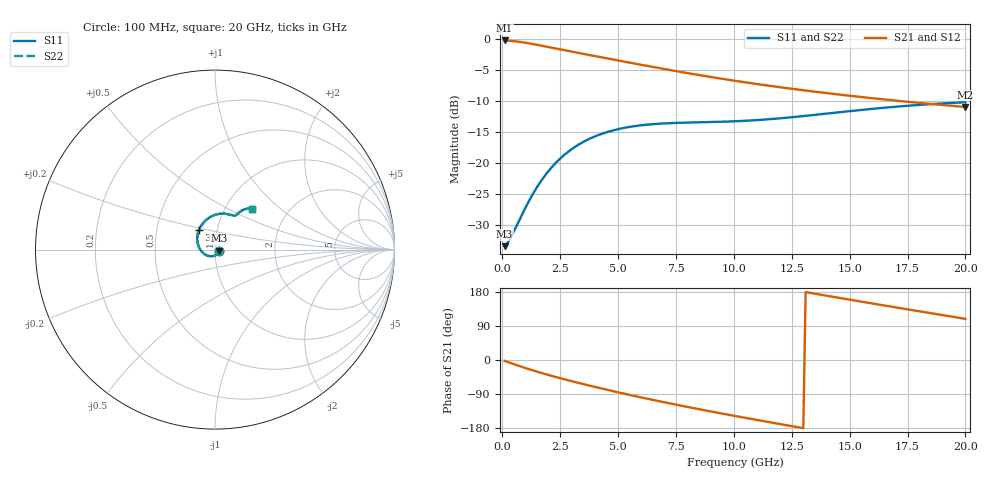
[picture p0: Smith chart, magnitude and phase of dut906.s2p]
! Touchstone file exported from HFSS 2024.1.0
!  File:  C:/UserFiles/LocalFiles/RDL_TSV_Batchsim/temp_RDL_TSV_906_1779954692.aedt
!  Generated:  04:08:38 PM May 28, 2026
!  Design:  RDL_TSV
!  Project:  temp_RDL_TSV_906_1779954692
!  Setup:  Setup1
!  Solution:  Sweep
! Variables:
!  dtsv = 14.11um
!  hbump = 3um
!  htsv = 96.03um
!  ldown = 499.93um
!  lrdl = 431.42um
!  p = 40
!  p1 = 40.69um
!  rhole = 10um
!  subl = 3225.47um
!  t = 450um
!  tdown = 3.34um
!  trdl = 2.57um
!  viad = 10um
!  wdown = 22.86um
!  wrdl = 17.17um
!  xbump = 18um
# GHz S MA R 50.000000
! Terminal data exported
! Port[1] = TM1_1_T1
! Port[2] = TM1_4_T1
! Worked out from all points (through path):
!   200 points, 100 MHz to 20 GHz, reference 50 ohm
!   highest |S21| = -0.19 dB at 100 MHz (marker M1); lowest = -10.9 dB at 20 GHz (marker M2)
!   group delay of S21, straight-line fit = 33.2 ps
!   lowest |S11| = -33.5 dB at 100 MHz (marker M3), VSWR 1.04, Z = 52.1 - j0.529 ohm
!   |S11| at or under -10 dB: start of sweep to end of sweep
!   |S22| runs from -33.5 to -10.2 dB; largest |S21 - S12| = 8.3e-15
!   S11 on the Smith chart (normalised r, x): 100 MHz: 1.04, -0.01; 3.3 GHz: 0.82, +0.18; 20 GHz: 1.33, +0.67
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0.1  0.02125 -13.8  0.9784 -2.3  0.9784 -2.3  0.02125 -13.8
! Gamma 0 0 0 0
! Port Impedance 50 0 50 0
0.4  0.02566 -55.1  0.9698 -8.9  0.9698 -8.9  0.02567 -55.1
0.9  0.03986 -111.5  0.9438 -19.3  0.9438 -19.3  0.03987 -111.4
1.3  0.05527 -144.1  0.9165 -27.1  0.9165 -27.1  0.05525 -144.0
1.6  0.06821 -163.4  0.8944 -32.6  0.8944 -32.6  0.06815 -163.3
2  0.08624 175.6  0.8646 -39.7  0.8646 -39.7  0.08612 175.7
2.4  0.1042 158.5  0.8356 -46.4  0.8356 -46.4  0.104 158.6
3.3  0.1409 129.6  0.7748 -60.6  0.7748 -60.6  0.1406 129.6
3.5  0.148 124.4  0.7621 -63.6  0.7621 -63.6  0.1477 124.5
4.2  0.1696 108.9  0.7196 -73.9  0.7196 -73.9  0.1691 108.9
5  0.1877 95.1  0.6741 -85.3  0.6741 -85.3  0.1871 95.1
5.9  0.2007 83.2  0.6268 -97.5  0.6268 -97.5  0.2001 83.2
6.8  0.2079 74.4  0.5837 -109.1  0.5837 -109.1  0.2072 74.4
7.6  0.2111 68.7  0.5488 -119.1  0.5488 -119.1  0.2104 68.7
8.4  0.2129 64.7  0.5173 -128.7  0.5173 -128.7  0.2123 64.7
10.1  0.2175 60.1  0.4601 -148.3  0.4601 -148.3  0.2168 60.1
11.7  0.2271 58.5  0.4166 -165.9  0.4166 -165.9  0.2264 58.4
13.4  0.2437 57.3  0.3789 175.9  0.3789 175.9  0.2429 57.2
15.1  0.2636 55.5  0.3478 158.2  0.3478 158.2  0.2627 55.4
16.7  0.2819 53.2  0.3233 141.8  0.3233 141.8  0.2808 53.0
18.3  0.2973 50.5  0.3024 125.6  0.3024 125.6  0.296 50.4
20  0.3094 47.7  0.2836 108.6  0.2836 108.6  0.3079 47.6
